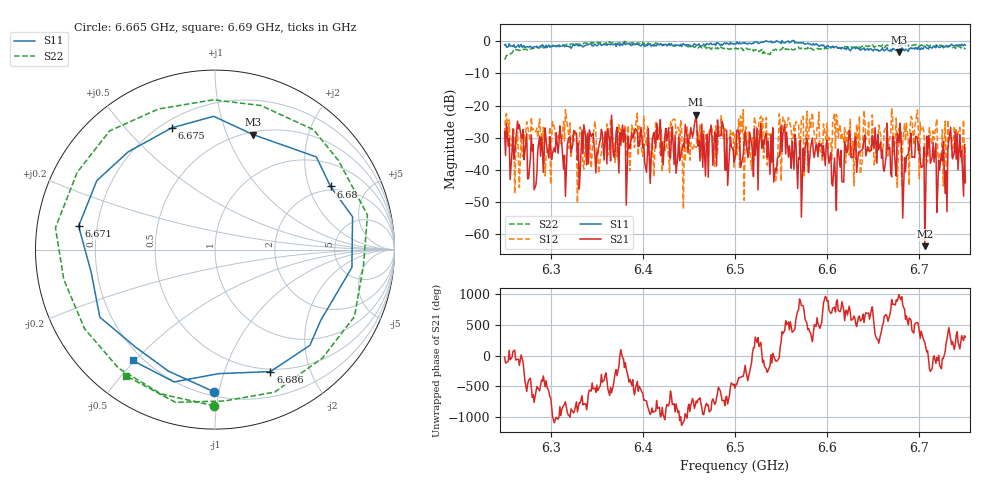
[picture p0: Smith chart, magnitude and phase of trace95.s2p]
# Hz S RI R 50
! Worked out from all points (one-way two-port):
!   401 points, 6.25 GHz to 6.75 GHz, reference 50 ohm
!   highest |S21| = -22.81 dB at 6.458 GHz (marker M1); lowest = -63.7 dB at 6.706 GHz (marker M2)
!   lowest |S11| = -3.4 dB at 6.678 GHz (marker M3), VSWR 5.15, Z = 26.3 + j62.1 ohm
!   |S11| at or under -10 dB: nowhere
!   |S22| runs from -5.7 to 0.0 dB; largest |S21 - S12| = 0.12
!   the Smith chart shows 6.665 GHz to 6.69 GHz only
!   S11 on the Smith chart (normalised r, x): 6.665 GHz: 0.23, -0.97; 6.671 GHz: 0.13, +0.08; 6.675 GHz: 0.24, +0.68; 6.68 GHz: 1.84, +2.81; 6.686 GHz: 0.47, -1.45; 6.69 GHz: 0.16, -0.49
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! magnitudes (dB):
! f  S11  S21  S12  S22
! 6.25 GHz  -1.2  -28.0  -28.7  -5.7
! 6.264 GHz  -1.5  -24.8  -28.2  -2.7
! 6.276 GHz  -1.9  -42.7  -28.2  -2.6
! 6.334 GHz  -1.5  -27.6  -29.4  -0.7
! 6.418 GHz  -1.2  -28.4  -30.6  -0.9
! 6.458 GHz  -1.2  -22.8  -33.0  -1.5
! 6.5 GHz  -0.7  -36.5  -28.9  -2.2
! 6.544 GHz  -0.2  -39.4  -43.4  -2.5
! 6.555 GHz  -0.4  -35.0  -27.0  -2.3
! 6.584 GHz  -1.2  -30.1  -22.2  -2.5
! 6.608 GHz  -1.9  -36.3  -22.4  -2.1
! 6.665 GHz  -2.0  -25.4  -25.6  -1.2
! 6.668 GHz  -3.1  -33.0  -29.7  -1.4
! 6.671 GHz  -2.3  -29.6  -23.0  -0.9
! 6.675 GHz  -2.9  -41.9  -23.9  -1.5
! 6.678 GHz  -3.4  -31.6  -27.1  -1.5
! 6.68 GHz  -2.7  -29.3  -28.3  -1.4
! 6.686 GHz  -2.5  -35.7  -25.4  -1.3
! 6.69 GHz  -2.3  -30.3  -26.5  -1.3
! 6.706 GHz  -1.5  -63.7  -34.7  -1.3
! 6.736 GHz  -1.3  -36.6  -36.6  -2.0
! 6.75 GHz  -1.2  -44.0  -31.9  -2.4
